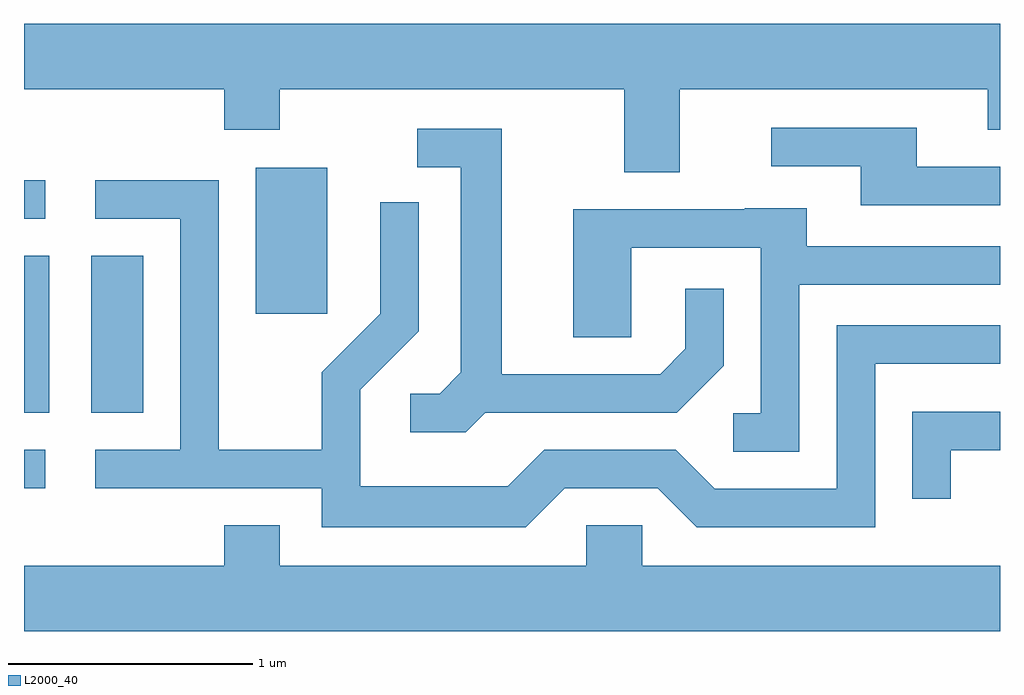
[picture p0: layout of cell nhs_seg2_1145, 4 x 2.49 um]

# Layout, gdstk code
import gdstk
lib = gdstk.Library(unit=1e-6, precision=1e-09)
def R(c, l, rs):  # rectangles x0, y0, x1, y1
    for r in rs: c.add(gdstk.rectangle(r[:2], r[2:], *l))
def P(c, l, *ps):  # polygons
    for p in ps: c.add(gdstk.Polygon(p, *l))
L2000_40 = (2000, 40)

nhs_seg2_1145 = lib.new_cell('nhs_seg2_1145')
R(nhs_seg2_1145, L2000_40, [(217.611,1093.301,217.698,1093.459), (217.611,1093.611,217.714,1094.254), (217.886,1093.611,218.099,1094.254), (218.561,1094.016,218.854,1094.614), (217.611,1094.406,217.698,1094.564)])
P(nhs_seg2_1145, L2000_40, [(220.299,1094.936),(221.561,1094.936),(221.561,1094.771),(221.611,1094.771),(221.611,1095.204),(217.611,1095.204),(217.611,1094.936),(218.431,1094.936),(218.431,1094.771),(218.659,1094.771),(218.659,1094.936),(220.071,1094.936),(220.071,1094.596),(220.299,1094.596)],
  [(221.611,1094.619),(221.269,1094.619),(221.269,1094.779),(220.673,1094.779),(220.673,1094.621),(221.041,1094.621),(221.041,1094.461),(221.611,1094.461)],
  [(219.502,1093.611),(220.287,1093.611),(220.479,1093.804),(220.479,1094.118),(220.321,1094.118),(220.321,1093.872),(220.219,1093.769),(219.569,1093.769),(219.569,1094.774),(219.223,1094.774),(219.223,1094.616),(219.401,1094.616),(219.401,1093.777),(219.314,1093.689),(219.193,1093.689),(219.193,1093.531),(219.422,1093.531)],
  [(219.827,1093.301),(220.209,1093.301),(220.369,1093.141),(221.099,1093.141),(221.099,1093.811),(221.611,1093.811),(221.611,1093.969),(220.941,1093.969),(220.941,1093.299),(220.442,1093.299),(220.282,1093.459),(219.744,1093.459),(219.594,1093.309),(218.989,1093.309),(218.989,1093.704),(219.229,1093.944),(219.229,1094.473),(219.071,1094.473),(219.071,1094.017),(218.831,1093.777),(218.831,1093.459),(218.409,1093.459),(218.409,1094.564),(217.903,1094.564),(217.903,1094.406),(218.251,1094.406),(218.251,1093.459),(217.903,1093.459),(217.903,1093.301),(218.831,1093.301),(218.831,1093.141),(219.667,1093.141)],
  [(220.789,1094.136),(221.611,1094.136),(221.611,1094.294),(220.819,1094.294),(220.819,1094.449),(220.565,1094.449),(220.565,1094.444),(219.861,1094.444),(219.861,1093.921),(220.099,1093.921),(220.099,1094.286),(220.631,1094.286),(220.631,1093.609),(220.518,1093.609),(220.518,1093.451),(220.789,1093.451)],
  [(221.409,1093.456),(221.611,1093.456),(221.611,1093.614),(221.251,1093.614),(221.251,1093.258),(221.409,1093.258)],
  [(221.611,1092.984),(220.144,1092.984),(220.144,1093.149),(219.916,1093.149),(219.916,1092.984),(218.659,1092.984),(218.659,1093.149),(218.431,1093.149),(218.431,1092.984),(217.611,1092.984),(217.611,1092.716),(221.611,1092.716)])

lib.write_gds('nhs_seg2_1145.gds')
